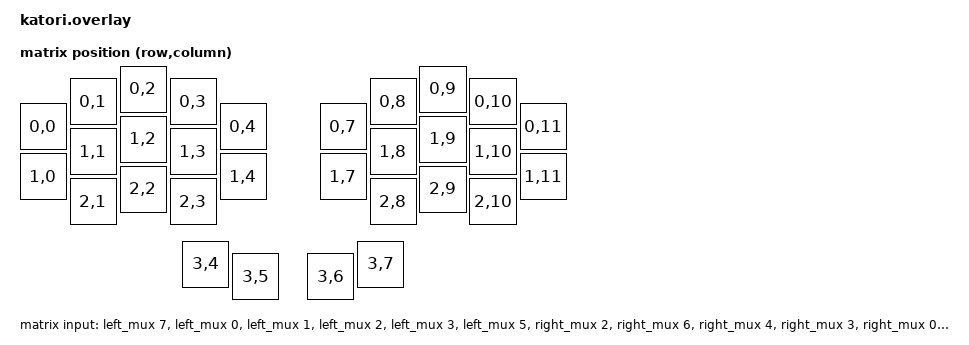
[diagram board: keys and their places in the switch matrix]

#include <zephyr/dt-bindings/dt-util.h>
#include <zephyr/dt-bindings/adc/adc.h>

#include <dt-bindings/zmk/matrix_transform.h>
#include <physical_layouts.dtsi>

&xiao_serial { status = "disabled"; };

/ {
	chosen {
		zmk,kscan = &matrix;
	};

	hummingbird_layout: hummingbird_layout {
		compatible = "zmk,physical-layout";
		display-name = "Default";
		
		transform = <&matrix_transform>;
		
		keys  //                     w   h    x    y     rot    rx    ry
		    = <&key_physical_attrs 100 100    0   75       0     0     0>
		    , <&key_physical_attrs 100 100  100   25       0     0     0>
		    , <&key_physical_attrs 100 100  200    0       0     0     0>
		    , <&key_physical_attrs 100 100  300   25       0     0     0>
		    , <&key_physical_attrs 100 100  400   75       0     0     0>
		    , <&key_physical_attrs 100 100  600   75       0     0     0>
		    , <&key_physical_attrs 100 100  700   25       0     0     0>
		    , <&key_physical_attrs 100 100  800    0       0     0     0>
		    , <&key_physical_attrs 100 100  900   25       0     0     0>
		    , <&key_physical_attrs 100 100 1000   75       0     0     0>
		    , <&key_physical_attrs 100 100    0  175       0     0     0>
		    , <&key_physical_attrs 100 100  100  125       0     0     0>
		    , <&key_physical_attrs 100 100  200  100       0     0     0>
		    , <&key_physical_attrs 100 100  300  125       0     0     0>
		    , <&key_physical_attrs 100 100  400  175       0     0     0>
		    , <&key_physical_attrs 100 100  600  175       0     0     0>
		    , <&key_physical_attrs 100 100  700  125       0     0     0>
		    , <&key_physical_attrs 100 100  800  100       0     0     0>
		    , <&key_physical_attrs 100 100  900  125       0     0     0>
		    , <&key_physical_attrs 100 100 1000  175       0     0     0>
		    , <&key_physical_attrs 100 100  100  225       0     0     0>
		    , <&key_physical_attrs 100 100  200  200       0     0     0>
		    , <&key_physical_attrs 100 100  300  225       0     0     0>
		    , <&key_physical_attrs 100 100  700  225       0     0     0>
		    , <&key_physical_attrs 100 100  800  200       0     0     0>
		    , <&key_physical_attrs 100 100  900  225       0     0     0>
		    , <&key_physical_attrs 100 100  325  350       0     0     0>
		    , <&key_physical_attrs 100 100  425  375       0     0     0>
		    , <&key_physical_attrs 100 100  575  375       0     0     0>
		    , <&key_physical_attrs 100 100  675  350       0     0     0>
		    ;
	};
	
	left_mux: left_mux {
		compatible = "zmk,gpio-mux";
		select-gpios
			= <&xiao_d 1 GPIO_ACTIVE_HIGH>
		        , <&xiao_d 2 GPIO_ACTIVE_HIGH>
		        , <&xiao_d 3 GPIO_ACTIVE_HIGH>
			;

		en-gpios = <&xiao_d 6 GPIO_ACTIVE_LOW>;

		gpio-controller;
		ngpios = <8>;
		#gpio-cells = <2>;
	};

	right_mux: right_mux {
		compatible = "zmk,gpio-mux";
		select-gpios
			= <&xiao_d 1 GPIO_ACTIVE_HIGH>
		        , <&xiao_d 2 GPIO_ACTIVE_HIGH>
		        , <&xiao_d 3 GPIO_ACTIVE_HIGH>
			;

		en-gpios = <&xiao_d 5 GPIO_ACTIVE_LOW>;

		gpio-controller;
		ngpios = <8>;
		#gpio-cells = <2>;
	};

	matrix: matrix {
		compatible = "zmk,kscan-ec-matrix";

		matrix-relax-us = <30>;
		adc-read-settle-us = <1>;

		strobe-gpios
			= <&xiao_d 10 GPIO_ACTIVE_HIGH>
		        , <&xiao_d 9 GPIO_ACTIVE_HIGH>
		        , <&xiao_d 8 GPIO_ACTIVE_HIGH>
		        , <&xiao_d 7 GPIO_ACTIVE_HIGH>
			;

		input-gpios
			= <&left_mux 7 0> /* COL0 */
			, <&left_mux 0 0> /* COL1 */
			, <&left_mux 1 0> /* COL2 */
			, <&left_mux 2 0> /* COL3 */
			, <&left_mux 3 0> /* COL4 */
			, <&left_mux 5 0> /* COL10 */
			, <&right_mux 2 0> /* COL11 */
			, <&right_mux 6 0> /* COL5 */
			, <&right_mux 4 0> /* COL6 */
			, <&right_mux 3 0> /* COL7 */
			, <&right_mux 0 0> /* COL8 */
			, <&right_mux 1 0> /* COL9 */
			;

		drain-gpios = <&xiao_d 4 GPIO_ACTIVE_HIGH>;
		strobe-input-masks = <
			(BIT(5) + BIT(6))
			(BIT(5) + BIT(6))
			(BIT(0) + BIT(4) + BIT(5) + BIT(6) + BIT(7) + BIT(11))
			(BIT(0) + BIT(1) + BIT(2) + BIT(3) + BIT(4) + BIT(7) + BIT(8) + BIT(9) + BIT(10) + BIT(11))
			>;
	};

	matrix_transform: matrix_transform {
		compatible = "zmk,matrix-transform";

		columns = <12>;
		rows = <4>;
	
		map = <
RC(0,0) RC(0,1) RC(0,2) RC(0,3) RC(0,4) RC(0,7) RC(0,8) RC(0,9) RC(0,10) RC(0,11)
RC(1,0) RC(1,1) RC(1,2) RC(1,3) RC(1,4) RC(1,7) RC(1,8) RC(1,9) RC(1,10) RC(1,11)
        RC(2,1) RC(2,2) RC(2,3)                 RC(2,8) RC(2,9) RC(2,10)
                	RC(3,4) RC(3,5) RC(3,6) RC(3,7) 
		>;
	};
	
};
